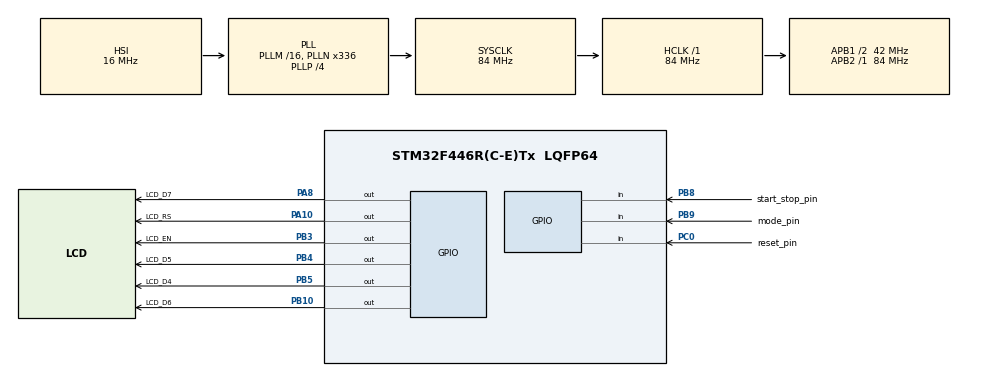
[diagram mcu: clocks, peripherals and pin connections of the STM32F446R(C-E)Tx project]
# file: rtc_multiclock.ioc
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Mcu.Family=STM32F4
Mcu.Name=STM32F446R(C-E)Tx
Mcu.Package=LQFP64
NVIC.PriorityGroup=NVIC_PRIORITYGROUP_0
PA10.GPIO_Label=LCD_RS
PA10.Signal=GPIO_Output
PA8.GPIO_Label=LCD_D7
PA8.Signal=GPIO_Output
PB10.GPIO_Label=LCD_D6
PB10.Signal=GPIO_Output
PB3.GPIO_Label=LCD_EN
PB3.Signal=GPIO_Output
PB4.GPIO_Label=LCD_D5
PB4.Signal=GPIO_Output
PB5.GPIO_Label=LCD_D4
PB5.Signal=GPIO_Output
PB8.GPIO_Label=start_stop_pin
PB8.GPIO_PuPd=GPIO_PULLUP
PB8.Signal=GPIO_Input
PB9.GPIO_Label=mode_pin
PB9.GPIO_PuPd=GPIO_PULLUP
PB9.Signal=GPIO_Input
PC0.GPIO_Label=reset_pin
PC0.GPIO_PuPd=GPIO_PULLUP
PC0.Signal=GPIO_Input
PC14-OSC32_IN.Mode=LSE-External-Oscillator
PC14-OSC32_IN.Signal=RCC_OSC32_IN
PC15-OSC32_OUT.Mode=LSE-External-Oscillator
PC15-OSC32_OUT.Signal=RCC_OSC32_OUT
ProjectManager.HeapSize=0x200
ProjectManager.StackSize=0x400
ProjectManager.TargetToolchain=STM32CubeIDE
RCC.AHBFreq_Value=84000000
RCC.APB1CLKDivider=RCC_HCLK_DIV2
RCC.APB1Freq_Value=42000000
RCC.APB1TimFreq_Value=84000000
RCC.APB2Freq_Value=84000000
RCC.APB2TimFreq_Value=84000000
RCC.CortexFreq_Value=84000000
RCC.FLatency-AdvancedSettings=FLASH_LATENCY_2
RCC.HCLKFreq_Value=84000000
RCC.HSE_VALUE=8000000
RCC.HSI_VALUE=16000000
RCC.PLLN=336
RCC.PLLP=RCC_PLLP_DIV4
RCC.SYSCLKFreq_VALUE=84000000
RCC.SYSCLKSource=RCC_SYSCLKSOURCE_PLLCLK
RCC.USBFreq_Value=168000000
RCC.VCOOutputFreq_Value=336000000
VP_RTC_VS_RTC_Activate.Mode=RTC_Enabled
VP_RTC_VS_RTC_Calendar.Mode=RTC_Calendar
board=NUCLEO-F446RE

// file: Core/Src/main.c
/* USER CODE BEGIN Header */
/**
 * * @brief Multi-Purpose Digital Clock using STM32F446RE
 *
 * Features:
 *  - RTC based 24-hour digital clock with battery backup
 *  - Stopwatch using system tick (HAL_GetTick)
 *  - Interactive time-setting mode using push buttons
 *  - 16x2 LCD display (4-bit parallel mode)
 *  - Startup animation using LCD custom characters
 *
 * Software Design:
 *  - Implemented using a finite state machine (FSM)
 *  - Modes: CLOCK → STOPWATCH → SETTINGS
 *  - Modular driver-based structure for LCD handling
 *
 * Author: Jayant Chopra (24UEC114)
 * Department: ECE, LNMIIT
  ******************************************************************************
  * @file           : main.c
  * @brief          : Main program body
  ******************************************************************************
  * @attention
  *
  * Copyright (c) 2025 STMicroelectronics.
  * All rights reserved.
  *
  * This software is licensed under terms that can be found in the LICENSE file
  * in the root directory of this software component.
  * If no LICENSE file comes with this software, it is provided AS-IS.
  *
  ******************************************************************************
  ******************************************************************************
  */
/* USER CODE END Header */
#include "main.h"

/* USER CODE BEGIN Includes */
#include "parallel_lcd.h"
#include "stdio.h"
/* USER CODE END Includes */

/* ================= GLOBAL APPLICATION VARIABLES =================
 * RTC structures store time and date maintained by the STM32 RTC
 * peripheral, allowing time persistence across resets.
 *
 * Stopwatch variables rely on system tick counting to provide
 * high-resolution timing independent of the RTC.
 * ================================================================= */

RTC_HandleTypeDef hrtc;

/* USER CODE BEGIN PV */

// Current real-time clock values fetched from hardware RTC
RTC_TimeTypeDef currentTime;
RTC_DateTypeDef currentDate;

// Stopwatch timing variables
uint32_t stopwatchStartTime = 0; // Start timestamp in milliseconds
uint32_t stopwatchElapsed = 0;   // Elapsed time in milliseconds
uint8_t stopwatchRunning = 0;    // Stopwatch state flag
/**
 * @brief Application display modes (Finite State Machine)
 *
 * MODE_CLOCK     : Normal time display using RTC
 * MODE_STOPWATCH : Stopwatch operation mode
 * MODE_SETTINGS  : User configuration for time setting
 */

typedef enum {
    MODE_CLOCK,
    MODE_STOPWATCH,
    MODE_SETTINGS
} DisplayMode_t;
/**
 * @brief Time setting sub-modes
 *
 * SET_HOURS   : Adjust hours field
 * SET_MINUTES : Adjust minutes field
 * SET_SAVE    : Commit time to RTC and exit settings
 */

typedef enum {
    SET_HOURS,
    SET_MINUTES,
    SET_SAVE
} SettingMode_t;

DisplayMode_t currentMode = MODE_CLOCK;
SettingMode_t settingMode = SET_HOURS;
uint8_t settingBlink = 0;
/* USER CODE END PV */

void SystemClock_Config(void);
static void MX_GPIO_Init(void);
static void MX_RTC_Init(void);

/* ================= FUNCTION PROTOTYPES =================
 * Display functions handle LCD visualization for each mode.
 * Button handlers implement debounced user interaction.
 * ====================================================== */

/* USER CODE BEGIN PFP */
void displayClock(void);
void displayStopwatch(void);
void displaySettings(void);
void handleStopwatch(void);
void updateDisplay(void);
void handleButtons(void);
void handleModeButton(void);
void handleStopwatchButtons(void);
void handleSettingsButtons(void);
void playRocketAnimation(void);  // ADD THIS LINE
/* USER CODE END PFP */

/**
 * @brief Application entry point
 *
 * Performs system initialization, plays startup animation,
 * and continuously executes the main application loop.
 */

int main(void)
{

  /* MCU Configuration--------------------------------------------------------*/

  /* Reset of all peripherals, Initializes the Flash interface and the Systick. */
	// Initialize HAL library and system tick timer
  HAL_Init();

  /* Configure the system clock */
  // Configure system clocks and RTC oscillator
  SystemClock_Config();

  /* Initialize all configured peripherals */
  MX_GPIO_Init();
  /* USER CODE BEGIN 2 */
  // Initialize LCD in 4-bit mode
  // Display startup animation and system status

  LCD_Init();

    // Play the rocket launch splash screen

    playRocketAnimation();
    HAL_Delay(2000); // Hold the "SYSTEM ONLINE" message

    // Continue with your original startup message or go straight to the clock
    LCD_Clear();
  LCD_WriteStringXY(0, 0, "Multi-Purpose");
  LCD_WriteStringXY(1, 0, "Clock Ready!");
  HAL_Delay(2000);
  LCD_Clear();
    //start the RTC so time begins from 00:00:00 here
    MX_RTC_Init();
  /* USER CODE END 2 */

  /* Infinite loop */
  /* USER CODE BEGIN WHILE */
  // ================= MAIN APPLICATION LOOP =================
  // Handles input, updates stopwatch, and refreshes display
  // =========================================================

  while (1)
  {
    /* USER CODE END WHILE */

    /* USER CODE BEGIN 3 */
//	  LCD_Clear();
//
//	      if(HAL_GPIO_ReadPin(reset_pin_GPIO_Port, reset_pin_Pin) == GPIO_PIN_RESET) {
//	          LCD_WriteStringXY(0, 0, "RESET: PRESSED");
//	      } else {
//	          LCD_WriteStringXY(0, 0, "RESET: RELEASED");
//	      }
//
//	      if(HAL_GPIO_ReadPin(start_stop_pin_GPIO_Port, start_stop_pin_Pin) == GPIO_PIN_RESET) {
//	          LCD_WriteStringXY(1, 0, "START: PRESSED");
//	      } else {
//	          LCD_WriteStringXY(1, 0, "START: RELEASED");
//	      }
//
//	      HAL_Delay(200);
	  handleButtons();

	  	          // Handle stopwatch timing
	  	          if(currentMode == MODE_STOPWATCH) {
	  	              handleStopwatch();
	  	          }

	  	          // Update display
	  	          updateDisplay();
	  	          HAL_Delay(1000);
  }
  /* USER CODE END 3 */
}

void SystemClock_Config(void)
{
  RCC_OscInitTypeDef RCC_OscInitStruct = {0};
  RCC_ClkInitTypeDef RCC_ClkInitStruct = {0};

  /** Configure the main internal regulator output voltage
  */
  __HAL_RCC_PWR_CLK_ENABLE();
  __HAL_PWR_VOLTAGESCALING_CONFIG(PWR_REGULATOR_VOLTAGE_SCALE3);

  /** Initializes the RCC Oscillators according to the specified parameters
  * in the RCC_OscInitTypeDef structure.
  */
  RCC_OscInitStruct.OscillatorType = RCC_OSCILLATORTYPE_HSI|RCC_OSCILLATORTYPE_LSI;
  RCC_OscInitStruct.LSEState = RCC_LSE_ON;
  RCC_OscInitStruct.HSIState = RCC_HSI_ON;
  RCC_OscInitStruct.HSICalibrationValue = RCC_HSICALIBRATION_DEFAULT;
  RCC_OscInitStruct.LSIState = RCC_LSI_ON;
  RCC_OscInitStruct.PLL.PLLState = RCC_PLL_ON;
  RCC_OscInitStruct.PLL.PLLSource = RCC_PLLSOURCE_HSI;
  RCC_OscInitStruct.PLL.PLLM = 16;
  RCC_OscInitStruct.PLL.PLLN = 336;
  RCC_OscInitStruct.PLL.PLLP = RCC_PLLP_DIV4;
  RCC_OscInitStruct.PLL.PLLQ = 2;
  RCC_OscInitStruct.PLL.PLLR = 2;
  if (HAL_RCC_OscConfig(&RCC_OscInitStruct) != HAL_OK)
  {
    Error_Handler();
  }

  /** Initializes the CPU, AHB and APB buses clocks
  */
  RCC_ClkInitStruct.ClockType = RCC_CLOCKTYPE_HCLK|RCC_CLOCKTYPE_SYSCLK
                              |RCC_CLOCKTYPE_PCLK1|RCC_CLOCKTYPE_PCLK2;
  RCC_ClkInitStruct.SYSCLKSource = RCC_SYSCLKSOURCE_PLLCLK;
  RCC_ClkInitStruct.AHBCLKDivider = RCC_SYSCLK_DIV1;
  RCC_ClkInitStruct.APB1CLKDivider = RCC_HCLK_DIV2;
  RCC_ClkInitStruct.APB2CLKDivider = RCC_HCLK_DIV1;

  if (HAL_RCC_ClockConfig(&RCC_ClkInitStruct, FLASH_LATENCY_2) != HAL_OK)
  {
    Error_Handler();
  }
}

static void MX_RTC_Init(void)
{

  RTC_TimeTypeDef sTime = {0};
  RTC_DateTypeDef sDate = {0};

  /** Initialize RTC Only
  */
  hrtc.Instance = RTC;
  hrtc.Init.HourFormat = RTC_HOURFORMAT_24;
  hrtc.Init.AsynchPrediv = 127;
  hrtc.Init.SynchPrediv = 255;
  hrtc.Init.OutPut = RTC_OUTPUT_DISABLE;
  hrtc.Init.OutPutPolarity = RTC_OUTPUT_POLARITY_HIGH;
  hrtc.Init.OutPutType = RTC_OUTPUT_TYPE_OPENDRAIN;
  if (HAL_RTC_Init(&hrtc) != HAL_OK)
  {
    Error_Handler();
  }

  /** Initialize RTC and set the Time and Date
  */
  sTime.Hours = 0x0;
  sTime.Minutes = 0x0;
  sTime.Seconds = 0x0;
  sTime.DayLightSaving = RTC_DAYLIGHTSAVING_NONE;
  sTime.StoreOperation = RTC_STOREOPERATION_RESET;
  if (HAL_RTC_SetTime(&hrtc, &sTime, RTC_FORMAT_BCD) != HAL_OK)
  {
    Error_Handler();
  }
  sDate.WeekDay = RTC_WEEKDAY_MONDAY;
  sDate.Month = RTC_MONTH_JANUARY;
  sDate.Date = 0x1;
  sDate.Year = 0x0;

  if (HAL_RTC_SetDate(&hrtc, &sDate, RTC_FORMAT_BCD) != HAL_OK)
  {
    Error_Handler();
  }

}

static void MX_GPIO_Init(void)
{
  GPIO_InitTypeDef GPIO_InitStruct = {0};

  /* GPIO Ports Clock Enable */
  __HAL_RCC_GPIOC_CLK_ENABLE();
  __HAL_RCC_GPIOB_CLK_ENABLE();
  __HAL_RCC_GPIOA_CLK_ENABLE();

  /*Configure GPIO pin Output Level */
  HAL_GPIO_WritePin(GPIOB, LCD_D6_Pin|LCD_EN_Pin|LCD_D5_Pin|LCD_D4_Pin, GPIO_PIN_RESET);

  /*Configure GPIO pin Output Level */
  HAL_GPIO_WritePin(GPIOA, LCD_D7_Pin|LCD_RS_Pin, GPIO_PIN_RESET);

  /*Configure GPIO pin : reset_pin_Pin */
  GPIO_InitStruct.Pin = reset_pin_Pin;
  GPIO_InitStruct.Mode = GPIO_MODE_INPUT;
  GPIO_InitStruct.Pull = GPIO_PULLUP;
  HAL_GPIO_Init(reset_pin_GPIO_Port, &GPIO_InitStruct);

  /*Configure GPIO pins : LCD_D6_Pin LCD_EN_Pin LCD_D5_Pin LCD_D4_Pin */
  GPIO_InitStruct.Pin = LCD_D6_Pin|LCD_EN_Pin|LCD_D5_Pin|LCD_D4_Pin;
  GPIO_InitStruct.Mode = GPIO_MODE_OUTPUT_PP;
  GPIO_InitStruct.Pull = GPIO_NOPULL;
  GPIO_InitStruct.Speed = GPIO_SPEED_FREQ_LOW;
  HAL_GPIO_Init(GPIOB, &GPIO_InitStruct);

  /*Configure GPIO pins : LCD_D7_Pin LCD_RS_Pin */
  GPIO_InitStruct.Pin = LCD_D7_Pin|LCD_RS_Pin;
  GPIO_InitStruct.Mode = GPIO_MODE_OUTPUT_PP;
  GPIO_InitStruct.Pull = GPIO_NOPULL;
  GPIO_InitStruct.Speed = GPIO_SPEED_FREQ_LOW;
  HAL_GPIO_Init(GPIOA, &GPIO_InitStruct);

  /*Configure GPIO pins : start_stop_pin_Pin mode_pin_Pin */
  GPIO_InitStruct.Pin = start_stop_pin_Pin|mode_pin_Pin;
  GPIO_InitStruct.Mode = GPIO_MODE_INPUT;
  GPIO_InitStruct.Pull = GPIO_PULLUP;
  HAL_GPIO_Init(GPIOB, &GPIO_InitStruct);

}

/* USER CODE BEGIN 4 */
// Display clock mode
//Fetches time from RTC and formats it for a 16x2 LCD.
void displayClock(void) {
    char buffer[17];
    // Fetch current time and date from RTC hardware

    HAL_RTC_GetTime(&hrtc, &currentTime, RTC_FORMAT_BIN);
    HAL_RTC_GetDate(&hrtc, &currentDate, RTC_FORMAT_BIN);

    // Changed to exactly 16 characters
    snprintf(buffer, sizeof(buffer), "T:%02d:%02d:%02d ",
             currentTime.Hours, currentTime.Minutes, currentTime.Seconds);
    LCD_WriteStringXY(0, 0, buffer);

    // Second line
    LCD_WriteStringXY(1, 0, "MODE>SW>SET");
}

// Display stopwatch mode
/**
 * @brief Displays stopwatch time and status
 *
 * Stopwatch time is derived from system tick counter
 * for millisecond-level resolution.
 */

void displayStopwatch(void) {
    char buffer[17];
    uint32_t hours, minutes, seconds;

    // Convert milliseconds to time components
    seconds = stopwatchElapsed / 1000;
    minutes = seconds / 60;
    hours = minutes / 60;

    seconds %= 60;
    minutes %= 60;

    // Display stopwatch on first line
    snprintf(buffer, sizeof(buffer), "SW: %02lu:%02lu:%02lu",
             hours, minutes, seconds);
    LCD_WriteStringXY(0, 0, buffer);

    // Display status and controls on second line - FIXED
    if(stopwatchRunning) {
        snprintf(buffer, sizeof(buffer), "Reset Mode Stop");
    } else {
        snprintf(buffer, sizeof(buffer), "Reset Mode Start");
    }
    LCD_WriteStringXY(1, 0, buffer);
}

// Update display based on current mode
void updateDisplay(void) {
    LCD_Clear();

    switch(currentMode) {
        case MODE_CLOCK:
            displayClock();
            break;
        case MODE_STOPWATCH:
            displayStopwatch();
            break;
        case MODE_SETTINGS:
            displaySettings();
            break;
    }
}

// Handle mode button (PB9)
/**
 * @brief Handles mode switching using MODE button
 *
 * Cycles through CLOCK → STOPWATCH → SETTINGS modes.
 * Software debouncing is implemented using HAL_GetTick().
 */

void handleModeButton(void) {
    static uint32_t lastPress = 0;
    // Debounce logic to prevent multiple triggers

    if(HAL_GPIO_ReadPin(mode_pin_GPIO_Port, mode_pin_Pin) == GPIO_PIN_RESET) {
        if(HAL_GetTick() - lastPress > 300) {
            if(currentMode == MODE_CLOCK) {
                currentMode = MODE_STOPWATCH;
            } else if(currentMode == MODE_STOPWATCH) {
                currentMode = MODE_SETTINGS;
                // Initialize settings with current time
                HAL_RTC_GetTime(&hrtc, &currentTime, RTC_FORMAT_BIN);
                settingMode = SET_HOURS;
            } else {
                currentMode = MODE_CLOCK;
            }
            LCD_Clear();
            lastPress = HAL_GetTick();
        }
    }
}

// Handle stopwatch control buttons
void handleStopwatchButtons(void) {
    static uint32_t lastStartStop = 0;
    static uint32_t lastReset = 0;

    if(HAL_GPIO_ReadPin(start_stop_pin_GPIO_Port, start_stop_pin_Pin) == GPIO_PIN_RESET) {
        if(HAL_GetTick() - lastStartStop > 300) {
            if(!stopwatchRunning) {
                stopwatchStartTime = HAL_GetTick() - stopwatchElapsed;
                stopwatchRunning = 1;
            } else {
                stopwatchRunning = 0;
            }
            lastStartStop = HAL_GetTick();
        }
    }

    if(HAL_GPIO_ReadPin(reset_pin_GPIO_Port, reset_pin_Pin) == GPIO_PIN_RESET) {
        if(HAL_GetTick() - lastReset > 300 && !stopwatchRunning) {
            stopwatchElapsed = 0;
            lastReset = HAL_GetTick();
        }
    }
}
/**
 * @brief Handles user input in SETTINGS mode
 *
 * START/STOP button switches between hour/minute/save fields.
 * RESET button increments selected field or confirms save.
 */

void handleSettingsButtons(void) {
    static uint32_t lastSelectPress = 0;
    static uint32_t lastIncrementPress = 0;

    // SELECT button (START/STOP) - Change setting field
    if(HAL_GPIO_ReadPin(start_stop_pin_GPIO_Port, start_stop_pin_Pin) == GPIO_PIN_RESET) {
        if(HAL_GetTick() - lastSelectPress > 300) {
            if(settingMode == SET_HOURS) {
                settingMode = SET_MINUTES;
            } else if(settingMode == SET_MINUTES) {
                settingMode = SET_SAVE;
            } else {
                settingMode = SET_HOURS;
            }
            lastSelectPress = HAL_GetTick();
        }
    }

    // INCREMENT button (RESET) - Increase value or save
    if(HAL_GPIO_ReadPin(reset_pin_GPIO_Port, reset_pin_Pin) == GPIO_PIN_RESET) {
        if(HAL_GetTick() - lastIncrementPress > 300) {
            if(settingMode == SET_HOURS) {
                currentTime.Hours = (currentTime.Hours + 1) % 24;
            } else if(settingMode == SET_MINUTES) {
                currentTime.Minutes = (currentTime.Minutes + 1) % 60;
            } else if(settingMode == SET_SAVE) {
                // Save to RTC
                currentTime.TimeFormat = RTC_HOURFORMAT_24;
                currentTime.DayLightSaving = RTC_DAYLIGHTSAVING_NONE;
                currentTime.StoreOperation = RTC_STOREOPERATION_RESET;
                HAL_RTC_SetTime(&hrtc, &currentTime, RTC_FORMAT_BIN);

                // Return to clock mode
                currentMode = MODE_CLOCK;
            }
            lastIncrementPress = HAL_GetTick();
        }
    }
}
// Main button handler
void handleButtons(void) {
    handleModeButton();

    if(currentMode == MODE_STOPWATCH) {
        handleStopwatchButtons();
    } else if(currentMode == MODE_SETTINGS) {
        handleSettingsButtons();
    }
}

// Handle stopwatch control buttons
void handleStopwatch(void) {
    if(stopwatchRunning) {
        stopwatchElapsed = HAL_GetTick() - stopwatchStartTime;
    }
}
// Display settings mode
/**
 * @brief Displays time-setting interface on LCD
 *
 * Selected field blinks at 500ms interval for user feedback.
 * Brackets indicate the currently editable field.
 */

void displaySettings(void) {
    char buffer[17];
    // Software-controlled blink for selected field

    // Blink every 500ms
    static uint32_t lastBlink = 0;
    static uint8_t blinkState = 1;
    if (HAL_GetTick() - lastBlink > 500) {
        blinkState = !blinkState;
        lastBlink = HAL_GetTick();
    }

    // First line: Setting instruction
    switch (settingMode) {
        case SET_HOURS:
            LCD_WriteStringXY(0, 0, "Set Hours:      "); // padded to clear line
            break;
        case SET_MINUTES:
            LCD_WriteStringXY(0, 0, "Set Minutes:    ");
            break;
        case SET_SAVE:
            LCD_WriteStringXY(0, 0, "Save Time?      ");
            LCD_WriteStringXY(1, 0, "Press INC to save");
            return; // fine — we only update static screen here
    }

    // Second line: Time display with stable brackets
    if (settingMode == SET_HOURS) {
        if (blinkState)
            snprintf(buffer, sizeof(buffer), "[%02d]:%02d  ", currentTime.Hours, currentTime.Minutes);
        else
            snprintf(buffer, sizeof(buffer), " %02d :%02d  ", currentTime.Hours, currentTime.Minutes);
    } else if (settingMode == SET_MINUTES) {
        if (blinkState)
            snprintf(buffer, sizeof(buffer), " %02d:[%02d] ", currentTime.Hours, currentTime.Minutes);
        else
            snprintf(buffer, sizeof(buffer), " %02d : %02d  ", currentTime.Hours, currentTime.Minutes);
    }

    LCD_WriteStringXY(1, 0, buffer);
}
// 1. Define the pixel data for the rocket and flames (4 custom characters)
/* ================= LCD CUSTOM CHARACTERS =================
 * Custom CGRAM characters used for startup animation.
 * Adds visual feedback and improves system aesthetics.
 * ========================================================= */

// Character 0: The top of the rocket
uint8_t rocket_top[8] = {
    0b00100, //   *
    0b01110, //  ***
    0b01110, //  ***
    0b01110, //  ***
    0b01110, //  ***
    0b01110, //  ***
    0b01110, //  ***
    0b00000
};

// Character 1: The bottom of the rocket with fins
uint8_t rocket_bottom[8] = {
    0b01110, //  ***
    0b01110, //  ***
    0b11111, // *****
    0b11111, // *****
    0b11111, // *****
    0b10101, // * * *
    0b10101, // * * *
    0b00000
};

// Character 2: The first frame of the flame animation
uint8_t flame_1[8] = {
    0b00100, //   *
    0b01110, //  ***
    0b10101, // * * *
    0b01110, //  ***
    0b11111, // *****
    0b01010, //  * *
    0b10101, // * * *
    0b00100
};

// Character 3: The second frame of the flame animation
uint8_t flame_2[8] = {
    0b01110, //  ***
    0b11111, // *****
    0b01110, //  ***
    0b11111, // *****
    0b10101, // * * *
    0b11111, // *****
    0b01110, //  ***
    0b00100
};

// Make sure you have this function in parallel_lcd.c and its prototype in parallel_lcd.h
/*
void LCD_CreateChar(uint8_t location, uint8_t charmap[]) {
    location &= 0x07; // We only have 8 locations 0-7
    LCD_Command(0x40 | (location << 3)); // Set CGRAM Address
    for (int i=0; i<8; i++) {
        LCD_WriteChar(charmap[i]);
    }
}
*/

/**
 * @brief Displays startup rocket animation on LCD
 *
 * Uses LCD CGRAM custom characters for visual effects.
 * Enhances user experience during system startup.
 */

// 2. Create the animation function
void playRocketAnimation(void) {
    // Load the custom characters into the LCD's memory
    LCD_CreateChar(0, rocket_top);
    LCD_CreateChar(1, rocket_bottom);
    LCD_CreateChar(2, flame_1);
    LCD_CreateChar(3, flame_2);

    LCD_Clear();

    // -- Phase 1: Ignition --
    // Place the rocket on the "ground" (bottom line)
    LCD_SetCursor(1, 7); // Center on bottom line
    LCD_WriteChar(1);    // Draw the rocket bottom

    // Flicker the flames for a bit
    for (int i = 0; i < 6; i++) {
        LCD_SetCursor(1, 7);
        LCD_WriteChar(2); // Draw flame 1
        HAL_Delay(80);
        LCD_SetCursor(1, 7);
        LCD_WriteChar(3); // Draw flame 2
        HAL_Delay(80);
    }

    // -- Phase 2: Launch --
    // Frame 1: Full rocket with flames
    LCD_Clear();
    LCD_SetCursor(0, 7); // Top part of rocket on line 0
    LCD_WriteChar(0);
    LCD_SetCursor(1, 7); // Bottom part of rocket on line 1
    LCD_WriteChar(1);
    HAL_Delay(150);

    // Frame 2: Rocket moves up
    LCD_Clear();
    LCD_SetCursor(0, 7); // Full rocket now on line 0
    LCD_WriteChar(0);
    LCD_SetCursor(1, 7); // Flames are now on line 1
    LCD_WriteChar(2);
    HAL_Delay(150);

    // Frame 3: Rocket flies off screen
    LCD_Clear();
    LCD_SetCursor(0, 7); // Only flames remain on line 0
    LCD_WriteChar(3);
    HAL_Delay(150);

    // -- Phase 3: Reveal Text --
    LCD_Clear();
    LCD_WriteStringXY(0, 2, "SYSTEM ONLINE");
    LCD_WriteStringXY(1, 0, "----------------");
}

/* ... rest of your functions like displayClock, handleButtons, etc. ... */
/* USER CODE END 4 */

void Error_Handler(void)
{
  __disable_irq();
  while (1)
  {
  }
}
